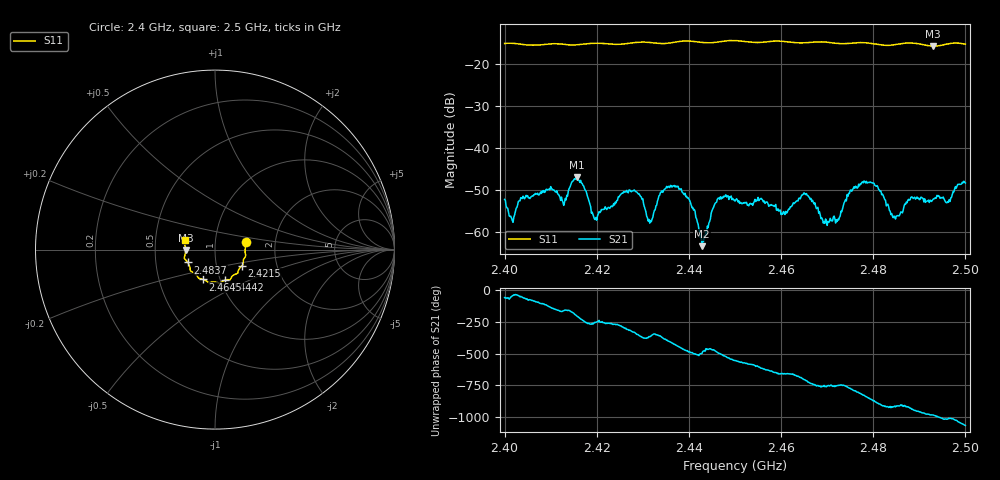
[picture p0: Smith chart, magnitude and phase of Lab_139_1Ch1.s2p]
# Hz S RI R 50
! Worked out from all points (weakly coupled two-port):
!   601 points, 2.4 GHz to 2.5 GHz, reference 50 ohm
!   highest |S21| = -46.87 dB at 2.4157 GHz (marker M1); lowest = -63.3 dB at 2.4428 GHz (marker M2)
!   lowest |S11| = -15.7 dB at 2.493 GHz (marker M3), VSWR 1.39, Z = 35.9 - j0.209 ohm
!   |S11| at or under -10 dB: start of sweep to end of sweep
!   S12 and S22 are empty: the file has one direction only
!   S11 on the Smith chart (normalised r, x): 2.4 GHz: 1.41, +0.12; 2.4215 GHz: 1.33, -0.25; 2.4442 GHz: 1.05, -0.37; 2.4645 GHz: 0.83, -0.29; 2.4837 GHz: 0.73, -0.11; 2.5 GHz: 0.71, +0.07
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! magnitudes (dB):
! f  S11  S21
! 2.4 GHz  -15.1  -52.2
! 2.4017 GHz  -15.1  -57.2
! 2.4157 GHz  -15.4  -46.9
! 2.4167 GHz  -15.3  -48.3
! 2.4195 GHz  -15.1  -56.8
! 2.4215 GHz  -15.1  -54.5
! 2.4282 GHz  -14.9  -49.9
! 2.4317 GHz  -14.9  -57.2
! 2.4333 GHz  -15.1  -52.0
! 2.4378 GHz  -14.6  -49.7
! 2.4428 GHz  -14.9  -63.3
! 2.4442 GHz  -15.0  -58.9
! 2.4463 GHz  -14.7  -51.9
! 2.45 GHz  -14.4  -52.6
! 2.4645 GHz  -15.0  -51.1
! 2.4667 GHz  -14.8  -52.6
! 2.4722 GHz  -15.1  -57.4
! 2.479 GHz  -15.0  -48.1
! 2.4833 GHz  -15.6  -53.9
! 2.4837 GHz  -15.5  -55.0
! 2.493 GHz  -15.7  -52.1
! 2.5 GHz  -15.3  -48.2
